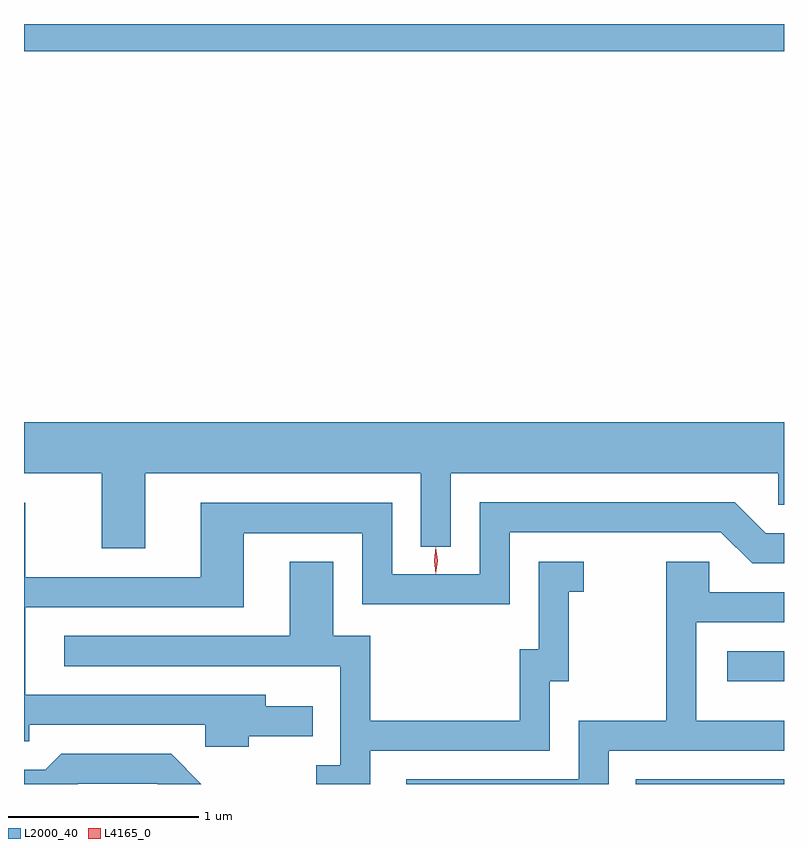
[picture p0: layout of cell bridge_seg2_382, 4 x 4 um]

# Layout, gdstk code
import gdstk
lib = gdstk.Library(unit=1e-6, precision=1e-09)
def R(c, l, rs):  # rectangles x0, y0, x1, y1
    for r in rs: c.add(gdstk.rectangle(r[:2], r[2:], *l))
def P(c, l, *ps):  # polygons
    for p in ps: c.add(gdstk.Polygon(p, *l))
L2000_40 = (2000, 40)
L4165_0 = (4165, 0)

bridge_seg2_382 = lib.new_cell('bridge_seg2_382')
R(bridge_seg2_382, L2000_40, [(640.493,982.3,641.272,982.324), (640.973,982.841,641.272,982.999), (637.272,986.156,641.272,986.3)])
P(bridge_seg2_382, L2000_40, [(637.909,983.936),(639.361,983.936),(639.361,983.548),(639.519,983.548),(639.519,983.936),(641.241,983.936),(641.241,983.771),(641.272,983.771),(641.272,984.204),(637.272,984.204),(637.272,983.936),(637.681,983.936),(637.681,983.541),(637.909,983.541)],
  [(638.454,982.551),(638.793,982.551),(638.793,982.709),(638.544,982.709),(638.544,982.769),(637.279,982.769),(637.279,983.231),(638.429,983.231),(638.429,983.621),(639.051,983.621),(639.051,983.246),(639.829,983.246),(639.829,983.626),(640.939,983.626),(641.104,983.461),(641.272,983.461),(641.272,983.619),(641.177,983.619),(641.012,983.784),(639.671,983.784),(639.671,983.404),(639.209,983.404),(639.209,983.779),(638.201,983.779),(638.201,983.389),(637.279,983.389),(637.279,983.779),(637.272,983.779),(637.272,982.526),(637.299,982.526),(637.299,982.611),(638.226,982.611),(638.226,982.496),(638.454,982.496)],
  [(640.349,982.476),(641.272,982.476),(641.272,982.634),(640.809,982.634),(640.809,983.151),(641.272,983.151),(641.272,983.309),(640.879,983.309),(640.879,983.469),(640.651,983.469),(640.651,982.634),(640.191,982.634),(640.191,982.324),(639.283,982.324),(639.283,982.3),(640.349,982.3)],
  [(639.094,982.476),(640.039,982.476),(640.039,982.841),(640.139,982.841),(640.139,983.311),(640.218,983.311),(640.218,983.469),(639.981,983.469),(639.981,983.009),(639.881,983.009),(639.881,982.634),(639.094,982.634),(639.094,983.079),(638.899,983.079),(638.899,983.469),(638.671,983.469),(638.671,983.079),(637.483,983.079),(637.483,982.921),(638.936,982.921),(638.936,982.399),(638.811,982.399),(638.811,982.3),(639.094,982.3)],
  [(637.557,982.301),(637.974,982.301),(637.975,982.3),(638.206,982.3),(638.047,982.459),(637.469,982.459),(637.384,982.374),(637.272,982.374),(637.272,982.3),(637.556,982.3)])
P(bridge_seg2_382, L4165_0, [(639.44,983.406),(639.44,983.407),(639.43,983.476),(639.44,983.545),(639.44,983.546),(639.44,983.545),(639.45,983.476),(639.44,983.407)])

lib.write_gds('bridge_seg2_382.gds')
